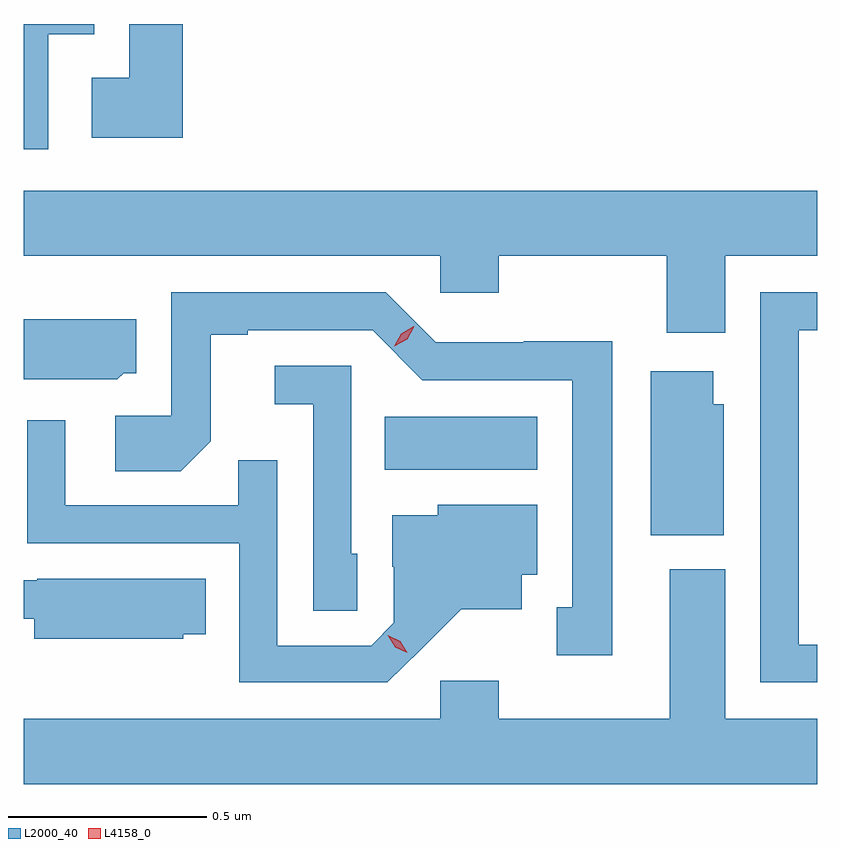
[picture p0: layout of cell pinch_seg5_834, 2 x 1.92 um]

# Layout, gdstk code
import gdstk
lib = gdstk.Library(unit=1e-6, precision=1e-09)
def R(c, l, rs):  # rectangles x0, y0, x1, y1
    for r in rs: c.add(gdstk.rectangle(r[:2], r[2:], *l))
def P(c, l, *ps):  # polygons
    for p in ps: c.add(gdstk.Polygon(p, *l))
L2000_40 = (2000, 40)
L4158_0 = (4158, 0)

pinch_seg5_834 = lib.new_cell('pinch_seg5_834')
R(pinch_seg5_834, L2000_40, [(768.514,890.852,768.898,890.986)])
P(pinch_seg5_834, L2000_40, [(767.665,891.95),(767.782,891.95),(767.782,891.976),(767.604,891.976),(767.604,891.66),(767.665,891.66)],
  [(768.005,891.976),(767.87,891.976),(767.87,891.841),(767.775,891.841),(767.775,891.689),(768.005,891.689)],
  [(769.372,891.392),(769.604,891.392),(769.604,891.556),(767.604,891.556),(767.604,891.392),(768.654,891.392),(768.654,891.299),(768.801,891.299),(768.801,891.392),(769.225,891.392),(769.225,891.198),(769.372,891.198)],
  [(769.604,890.411),(769.557,890.411),(769.557,891.204),(769.604,891.204),(769.604,891.3),(769.461,891.3),(769.461,890.316),(769.604,890.316)],
  [(769.087,891.176),(768.864,891.176),(768.864,891.174),(768.642,891.174),(768.516,891.3),(767.976,891.3),(767.976,890.988),(767.835,890.988),(767.835,890.848),(767.999,890.848),(768.075,890.924),(768.075,891.192),(768.169,891.192),(768.169,891.204),(768.483,891.204),(768.609,891.078),(768.986,891.078),(768.986,890.505),(768.947,890.505),(768.947,890.385),(769.087,890.385)],
  [(767.856,891.096),(767.887,891.096),(767.887,891.232),(767.604,891.232),(767.604,891.081),(767.706,891.081),(767.706,891.08),(767.84,891.08)],
  [(768.444,890.64),(768.429,890.64),(768.429,891.114),(768.237,891.114),(768.237,891.017),(768.333,891.017),(768.333,890.497),(768.444,890.497)],
  [(769.369,891.018),(769.342,891.018),(769.342,891.1),(769.184,891.1),(769.184,890.687),(769.369,890.687)],
  [(768.604,890.399),(768.707,890.501),(768.859,890.501),(768.859,890.588),(768.898,890.588),(768.898,890.764),(768.648,890.764),(768.648,890.737),(768.533,890.737),(768.533,890.608),(768.537,890.608),(768.537,890.466),(768.48,890.409),(768.243,890.409),(768.243,890.876),(768.145,890.876),(768.145,890.763),(767.709,890.763),(767.709,890.977),(767.613,890.977),(767.613,890.667),(768.147,890.667),(768.147,890.316),(768.52,890.316)],
  [(769.604,890.224),(769.372,890.224),(769.372,890.602),(769.232,890.602),(769.232,890.224),(768.801,890.224),(768.801,890.32),(768.654,890.32),(768.654,890.224),(767.604,890.224),(767.604,890.06),(769.604,890.06)],
  [(768.006,890.438),(768.062,890.438),(768.062,890.578),(767.638,890.578),(767.638,890.574),(767.604,890.574),(767.604,890.477),(767.63,890.477),(767.63,890.426),(768.006,890.426)])
P(pinch_seg5_834, L4158_0, [(768.538,891.163),(768.538,891.163),(768.555,891.195),(768.587,891.214),(768.588,891.214),(768.588,891.214),(768.57,891.181),(768.538,891.163)],
  [(768.571,890.391),(768.54,890.405),(768.522,890.435),(768.522,890.435),(768.522,890.435),(768.553,890.42),(768.571,890.391),(768.571,890.391)])

lib.write_gds('pinch_seg5_834.gds')
